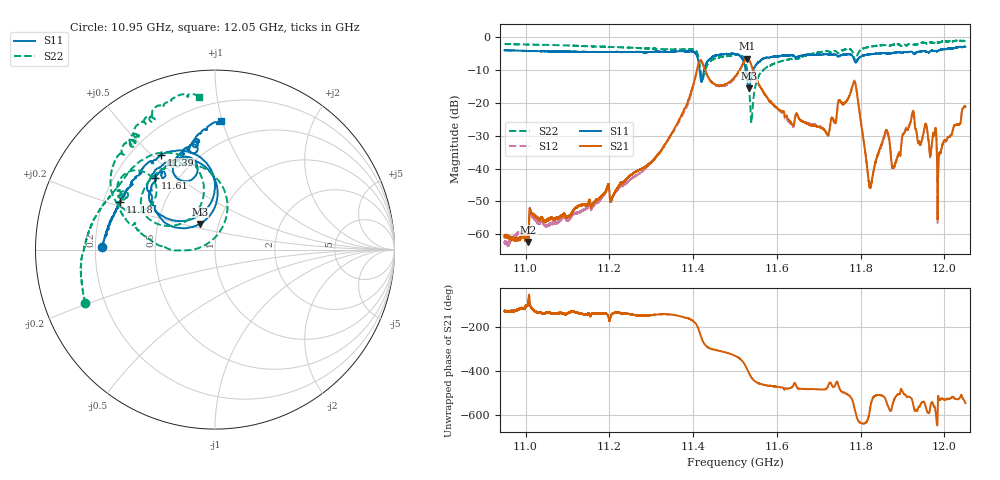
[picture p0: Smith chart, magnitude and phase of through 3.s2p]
!Agilent Technologies,E8362C,MY49020356,A.09.42.23
!Agilent E8362C: A.09.42.23
!Date: Saturday, September 11, 2021 04:06:47
!Correction: S11(Full 2 Port(1,2))
!S21(Full 2 Port(1,2))
!S12(Full 2 Port(1,2))
!S22(Full 2 Port(1,2))
!S2P File: Measurements: S11, S21, S12, S22:
# Hz S  MA  R 50
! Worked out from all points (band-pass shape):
!   32001 points, 10.95 GHz to 12.05 GHz, reference 50 ohm
!   highest |S21| = -6.55 dB at 11.53 GHz (marker M1); lowest = -62.3 dB at 11.01 GHz (marker M2)
!   |S21| within 3 dB of the highest: 11.41012 GHz to 11.42732 GHz (17.2 MHz wide, 0.151 % of centre); 11.51333 GHz to 11.54208 GHz (28.75 MHz wide, 0.249 % of centre)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
!   lowest |S11| = -15.6 dB at 11.53 GHz (marker M3), VSWR 1.40, Z = 40.7 + j12 ohm
!   |S11| at or under -10 dB: 11.41549 GHz to 11.42628 GHz (10.79 MHz wide, 0.0945 % of centre); 11.52524 GHz to 11.54379 GHz (18.56 MHz wide, 0.161 % of centre); 11.54385 GHz to 11.54387 GHz (14.79 kHz wide, 0.000128 % of centre)
!   |S22| runs from -25.9 to -1.0 dB; largest |S21 - S12| = 0.024
!   S11 on the Smith chart (normalised r, x): 10.95 GHz: 0.23, +0.01; 11.18 GHz: 0.27, +0.22; 11.39 GHz: 0.32, +0.54; 11.61 GHz: 0.37, +0.41; 12.05 GHz: 0.34, +0.99
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1.095e10  0.6286 178.9  0.0009553 -126.9  0.0007204 -113.3  0.7818 -157.5
1.100672e10  0.6145 172.1  0.0007653 -83.9  0.0007839 -93.7  0.7676 -164.5
1.113336e10  0.593 159.5  0.002837 -138.5  0.002277 -136.9  0.7298 179.8
1.118169e10  0.5903 153.5  0.003843 -135.9  0.003621 -134.5  0.7121 173.0
1.131668e10  0.5999 140.2  0.01648 -142.1  0.01688 -138.9  0.6601 154.5
1.139368e10  0.6087 119.5  0.1359 -164.7  0.1248 -161.1  0.6475 134.5
1.141712e10  0.2574 95.8  0.4399 127.6  0.4411 128.8  0.3345 100.6
1.15e10  0.5517 115.9  0.2484 29.7  0.2377 32.1  0.5313 132.9
1.152936e10  0.2117 93.7  0.4702 -33.3  0.4731 -33.2  0.3035 77.9
1.153307e10  0.1657 120.3  0.4508 -48.5  0.4452 -48.7  0.1868 70.8
1.154053e10  0.2677 151.4  0.354 -73.1  0.3418 -72.1  0.06079 155.4
1.15595e10  0.4264 144.4  0.1771 -98.4  0.1782 -95.9  0.2769 177.5
1.161278e10  0.5225 129.8  0.07342 -116.0  0.06992 -117.3  0.4328 166.8
1.168336e10  0.5336 121.8  0.04535 -122.3  0.04762 -121.7  0.5533 159.1
1.172144e10  0.5465 116.4  0.0324 -112.6  0.03176 -115.5  0.6104 150.6
1.178432e10  0.4559 102.3  0.2084 159.4  0.2162 160.0  0.4916 132.2
1.182202e10  0.5447 114.0  0.005139 142.1  0.005336 138.8  0.7117 144.6
1.186668e10  0.559 108.4  0.03145 153.2  0.02979 153.9  0.7348 133.9
1.187974e10  0.5774 108.1  0.01062 -172.3  0.0104 -171.1  0.7695 132.2
1.192381e10  0.586 99.8  0.07153 -179.4  0.07363 178.5  0.7762 123.9
1.19873e10  0.6301 100.0  0.01673 -167.9  0.01609 -167.2  0.8243 115.2
1.205e10  0.716 87.1  0.08614 173.2  0.08687 171.0  0.8513 95.8
